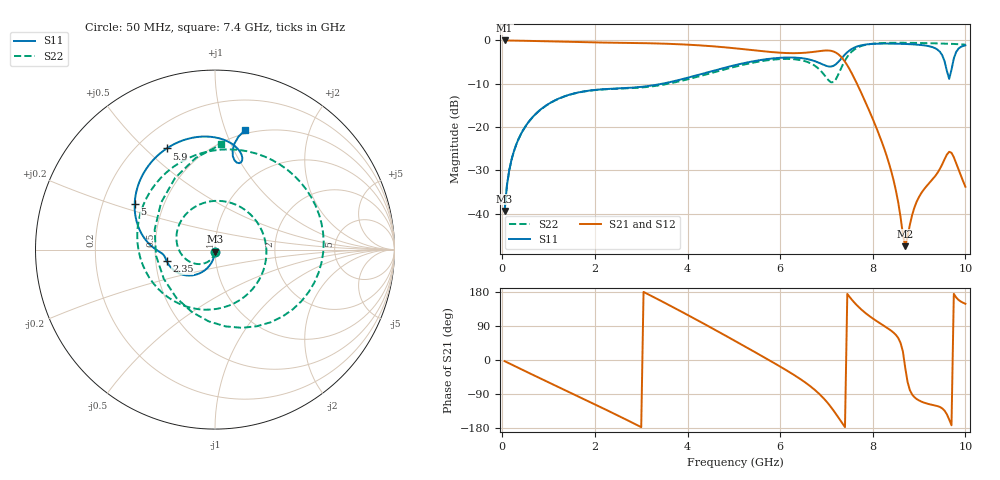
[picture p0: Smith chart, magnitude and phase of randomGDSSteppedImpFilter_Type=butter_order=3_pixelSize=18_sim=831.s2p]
! freq	dB(S11)	phase(S11)	dB(S12)	phase(S12)
!  dB(S21)	phase(S21)	dB(S22)	phase(S22)
!S-par simulation data
#  GHz  S  DB  R 50
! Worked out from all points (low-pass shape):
!   200 points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, 50 MHz to 10 GHz, reference 50 ohm
!   highest |S21| = -0.01 dB at 50 MHz (marker M1); lowest = -47.5 dB at 8.7 GHz (marker M2)
!   |S21| within 3 dB of the highest: start of sweep to 7.231 GHz
!   lowest |S11| = -39.4 dB at 50 MHz (marker M3), VSWR 1.02, Z = 50 - j1.07 ohm
!   |S11| at or under -10 dB: start of sweep to 3.45 GHz
!   |S22| runs from -39.4 to -0.5 dB; largest |S21 - S12| = 0
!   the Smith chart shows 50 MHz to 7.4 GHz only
!   S11 on the Smith chart (normalised r, x): 50 MHz: 1.00, -0.02; 2.35 GHz: 0.57, -0.08; 5 GHz: 0.34, +0.24; 5.9 GHz: 0.32, +0.58; 7.4 GHz: 0.46, +1.17
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0.05  -39.39 -90.7  -0.01 -3.0  -0.01 -3.0  -39.41 -92.6
0.2  -27.49 -98.1  -0.03 -12.0  -0.03 -12.0  -27.53 -105.7
0.5  -19.83 -110.6  -0.09 -29.7  -0.09 -29.7  -19.87 -129.7
1.75  -11.78 -153.8  -0.42 -102.6  -0.42 -102.6  -11.82 127.3
2.35  -11.15 -167.0  -0.52 -137.8  -0.52 -137.8  -11.21 70.5
3.4  -10.10 -178.1  -0.72 157.7  -0.72 157.7  -10.35 -46.7
4.25  -7.88 170.1  -1.13 102.6  -1.13 102.6  -8.29 -145.7
5  -5.77 150.3  -1.79 52.1  -1.79 52.1  -6.14 132.4
5.05  -5.64 148.7  -1.84 48.6  -1.84 48.6  -6.01 127.2
5.9  -4.09 115.5  -2.76 -10.2  -2.76 -10.2  -4.38 43.0
6.7  -4.61 79.2  -2.67 -74.0  -2.67 -74.0  -5.52 -44.7
6.95  -5.68 73.1  -2.34 -102.6  -2.34 -102.6  -7.93 -95.1
7.15  -5.88 77.6  -2.55 -132.9  -2.55 -132.9  -9.62 -174.2
7.4  -3.25 75.8  -4.92 -177.2  -4.92 -177.2  -4.63 86.8
7.8  -1.02 45.7  -13.24 128.2  -13.24 128.2  -1.14 12.5
8.35  -0.73 8.1  -28.37 81.4  -28.37 81.4  -0.56 -36.1
8.7  -0.81 -13.9  -47.49 -19.6  -47.49 -19.6  -0.55 -57.4
8.95  -0.96 -29.9  -37.16 -103.2  -37.16 -103.2  -0.58 -70.7
9.35  -1.81 -59.2  -31.29 -120.2  -31.29 -120.2  -0.67 -90.7
9.65  -8.88 -57.1  -25.71 -157.0  -25.71 -157.0  -0.77 -105.6
9.8  -2.68 -43.5  -28.33 165.2  -28.33 165.2  -0.84 -113.3
10  -1.13 -66.4  -33.77 148.4  -33.77 148.4  -0.96 -123.8
